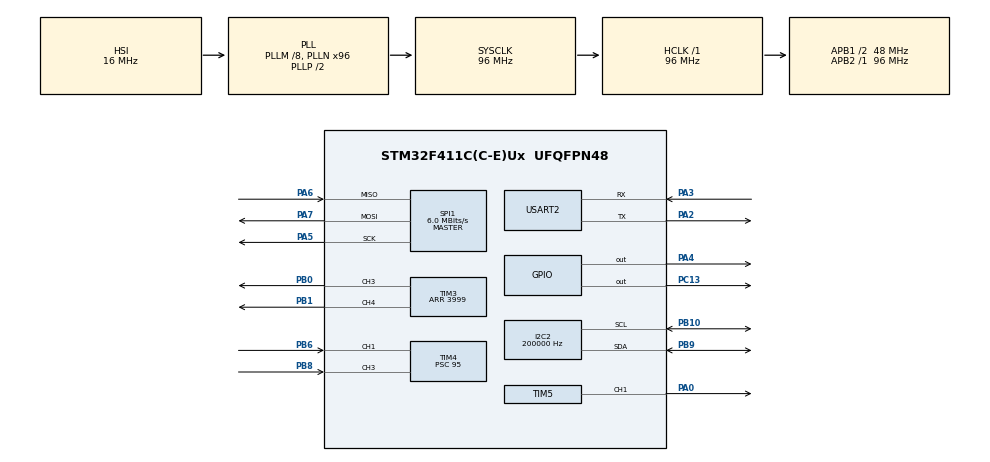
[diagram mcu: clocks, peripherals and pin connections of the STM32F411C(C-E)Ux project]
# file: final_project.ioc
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I2C2.ClockSpeed=200000
I2C2.I2C_Mode=I2C_Fast
Mcu.Family=STM32F4
Mcu.Name=STM32F411C(C-E)Ux
Mcu.Package=UFQFPN48
NVIC.PriorityGroup=NVIC_PRIORITYGROUP_4
NVIC.TIM3_IRQn=true\:0\:0\:false\:false\:true\:true\:true\:true
NVIC.TIM4_IRQn=true\:0\:0\:false\:false\:true\:true\:true\:true
NVIC.USART2_IRQn=true\:0\:0\:false\:false\:true\:true\:true\:true
PA0-WKUP.Signal=S_TIM5_CH1
PA13.Mode=Serial_Wire
PA13.Signal=SYS_JTMS-SWDIO
PA14.Mode=Serial_Wire
PA14.Signal=SYS_JTCK-SWCLK
PA15.Signal=SPI1_NSS
PA2.Mode=Asynchronous
PA2.Signal=USART2_TX
PA3.Mode=Asynchronous
PA3.Signal=USART2_RX
PA4.GPIO_Speed=GPIO_SPEED_FREQ_HIGH
PA4.PinState=GPIO_PIN_SET
PA4.Signal=GPIO_Output
PA5.Mode=Full_Duplex_Master
PA5.Signal=SPI1_SCK
PA6.Mode=Full_Duplex_Master
PA6.Signal=SPI1_MISO
PA7.Mode=Full_Duplex_Master
PA7.Signal=SPI1_MOSI
PB0.Signal=S_TIM3_CH3
PB1.Signal=S_TIM3_CH4
PB10.Mode=I2C
PB10.Signal=I2C2_SCL
PB3.Signal=SYS_JTDO-SWO
PB6.Signal=S_TIM4_CH1
PB8.Signal=S_TIM4_CH3
PB9.Mode=I2C
PB9.Signal=I2C2_SDA
PC13-ANTI_TAMP.Signal=GPIO_Output
PC14-OSC32_IN.Mode=LSE-External-Oscillator
PC14-OSC32_IN.Signal=RCC_OSC32_IN
PC15-OSC32_OUT.Mode=LSE-External-Oscillator
PC15-OSC32_OUT.Signal=RCC_OSC32_OUT
PH0\ -\ OSC_IN.Mode=HSE-External-Oscillator
PH0\ -\ OSC_IN.Signal=RCC_OSC_IN
PH1\ -\ OSC_OUT.Mode=HSE-External-Oscillator
PH1\ -\ OSC_OUT.Signal=RCC_OSC_OUT
ProjectManager.HeapSize=0x200
ProjectManager.StackSize=0x400
ProjectManager.TargetToolchain=STM32CubeIDE
RCC.48MHZClocksFreq_Value=48000000
RCC.AHBFreq_Value=96000000
RCC.APB1CLKDivider=RCC_HCLK_DIV2
RCC.APB1Freq_Value=48000000
RCC.APB1TimFreq_Value=96000000
RCC.APB2Freq_Value=96000000
RCC.APB2TimFreq_Value=96000000
RCC.CortexFreq_Value=96000000
RCC.HCLKFreq_Value=96000000
RCC.HSE_VALUE=25000000
RCC.HSI_VALUE=16000000
RCC.PLLM=8
RCC.PLLN=96
RCC.SYSCLKFreq_VALUE=96000000
RCC.SYSCLKSource=RCC_SYSCLKSOURCE_PLLCLK
RCC.VCOOutputFreq_Value=192000000
SH.S_TIM3_CH3.0=TIM3_CH3,PWM Generation3 CH3
SH.S_TIM3_CH4.0=TIM3_CH4,PWM Generation4 CH4
SH.S_TIM4_CH1.0=TIM4_CH1,Input_Capture1_from_TI1
SH.S_TIM4_CH3.0=TIM4_CH3,Input_Capture3_from_TI3
SH.S_TIM5_CH1.0=TIM5_CH1,PWM Generation1 CH1
SPI1.BaudRatePrescaler=SPI_BAUDRATEPRESCALER_16
SPI1.CLKPhase=SPI_PHASE_1EDGE
SPI1.CLKPolarity=SPI_POLARITY_HIGH
SPI1.CalculateBaudRate=6.0 MBits/s
SPI1.DataSize=SPI_DATASIZE_8BIT
SPI1.Direction=SPI_DIRECTION_2LINES
SPI1.Mode=SPI_MODE_MASTER
SPI1.VirtualType=VM_MASTER
TIM3.Channel-PWM\ Generation1\ CH1=TIM_CHANNEL_1
TIM3.Channel-PWM\ Generation2\ CH2=TIM_CHANNEL_2
TIM3.Channel-PWM\ Generation3\ CH3=TIM_CHANNEL_3
TIM3.Channel-PWM\ Generation4\ CH4=TIM_CHANNEL_4
TIM3.Period=3999
TIM3.Pulse-PWM\ Generation1\ CH1=0
TIM3.Pulse-PWM\ Generation2\ CH2=0
TIM3.Pulse-PWM\ Generation3\ CH3=0
TIM3.Pulse-PWM\ Generation4\ CH4=0
TIM4.Channel-Input_Capture1_from_TI1=TIM_CHANNEL_1
TIM4.Channel-Input_Capture2_from_TI1_63=TIM_CHANNEL_2
TIM4.Channel-Input_Capture3_from_TI3=TIM_CHANNEL_3
TIM4.Channel-Input_Capture4_from_TI3_63=TIM_CHANNEL_4
TIM4.ICPolarity_CH2=TIM_INPUTCHANNELPOLARITY_FALLING
TIM4.ICPolarity_CH4=TIM_INPUTCHANNELPOLARITY_FALLING
TIM4.ICPrescaler-Input_Capture3_from_TI3=TIM_ICPSC_DIV1
TIM4.Period=65535
TIM4.Prescaler=95
TIM5.Channel-PWM\ Generation1\ CH1=TIM_CHANNEL_1
TIM5.Period=1919999
TIM5.Pulse-PWM\ Generation1\ CH1=96000
USART2.VirtualMode=VM_ASYNC
VP_TIM4_VS_indirect_ch1.Mode=Input_Capture2_from_TI1_63
VP_TIM4_VS_indirect_ch3.Mode=Input_Capture4_from_TI3_63
board=custom

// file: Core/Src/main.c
/* USER CODE BEGIN Header */
/**
  ******************************************************************************
  * @file           : main.c
  * @brief          : Main program body
  ******************************************************************************
  * @attention
  *
  * Copyright (c) 2024 STMicroelectronics.
  * All rights reserved.
  *
  * This software is licensed under terms that can be found in the LICENSE file
  * in the root directory of this software component.
  * If no LICENSE file comes with this software, it is provided AS-IS.
  *
  ******************************************************************************
  */
/* USER CODE END Header */
#include "main.h"

/* USER CODE BEGIN Includes */
#include "string.h"
#include <stdlib.h>
#include <stdio.h>
#include "stm32f411xe.h"
#include "stm32f4xx_hal_uart.h"
#include "stm32f4xx_hal_rcc.h"
#include "stm32f4xx_hal_spi.h" // Include HAL SPI library
/* USER CODE END Includes */

/* USER CODE BEGIN PD */

#define IMU_ADDR (0x28)
#define OP_MODE_REG (0x3D)
#define NDOF_MODE (0x0C)
#define EUL_X (0x1A)
#define GYR_Y_LSB (0x16)

#define velo_error velo_meas;
float   actuation_pwm;
float   actuation_acc;
float   actuation_acc_prev;

uint32_t i;
uint32_t count;

//UART
char transmit_buff[150];
uint16_t n;

/* USER CODE END PD */

I2C_HandleTypeDef hi2c2;

SPI_HandleTypeDef hspi1;

TIM_HandleTypeDef htim3;
TIM_HandleTypeDef htim4;
TIM_HandleTypeDef htim5;

UART_HandleTypeDef huart2;

/* USER CODE BEGIN PV */
//I2C
uint32_t scan;
uint32_t result;
uint16_t i2c_buff_write[1];
int16_t i2c_buff_read[6];
int16_t i2c_buff_gyro[2];
float eul_x, eul_y,eul_z;
int16_t gyr_y;
float eul_y_offset;

//controller
float pos_meas;  /// measurement from the IMU
uint16_t velo_meas; /// measurement from the IMU

float pos_setpoint;
float pos_error;

float kp;
float kd;
/* USER CODE END PV */

void SystemClock_Config(void);
static void MX_GPIO_Init(void);
static void MX_TIM3_Init(void);
static void MX_TIM4_Init(void);
static void MX_USART2_UART_Init(void);
static void MX_TIM5_Init(void);
static void MX_SPI1_Init(void);
static void MX_I2C2_Init(void);
/* USER CODE BEGIN PFP */
void set_motor(uint32_t servo_cmp);
void start_motor(void);
float get_pos(void);
int16_t get_vel(void);
/* USER CODE END PFP */

int main(void)
{

  /* USER CODE BEGIN 1 */
	//controller parameters initially
	kp=500;
	kd=0;
	pos_setpoint=0;
	actuation_acc_prev=0;

  /* USER CODE END 1 */

  /* MCU Configuration--------------------------------------------------------*/

  /* Reset of all peripherals, Initializes the Flash interface and the Systick. */
  HAL_Init();

  /* Configure the system clock */
  SystemClock_Config();

  /* Initialize all configured peripherals */
  MX_GPIO_Init();
  MX_TIM3_Init();
  MX_TIM4_Init();
  MX_USART2_UART_Init();
  MX_TIM5_Init();
  MX_SPI1_Init();
  MX_I2C2_Init();
  /* USER CODE BEGIN 2 */
  HAL_TIM_PWM_Start(&htim5, TIM_CHANNEL_1);
  HAL_I2C_Init(&hi2c2);

  //testing stuff
  	  n = sprintf(transmit_buff,"UART initialized \r\n");
  	  HAL_UART_Transmit(&huart2, (uint8_t *) &transmit_buff, n, HAL_MAX_DELAY); //transmit the read data
  	//I2C initialization stuff

  	    	  for (i = 1; i < 128; i++) {
  	    	          result = HAL_I2C_IsDeviceReady(&hi2c2, (uint16_t)(i << 1), 1, 10);

  	    	          if (result == HAL_OK) {
  	    	              n=sprintf(transmit_buff,"Device found at address 0x%02d\n\r",(int) i);
  	    	              HAL_UART_Transmit(&huart2, (uint8_t *) &transmit_buff, n, HAL_MAX_DELAY); //transmit the read data
  	    	          }
  	    	      }
  	    	      n=sprintf(transmit_buff,"Scan completed.\n\r");
  	    	      HAL_UART_Transmit(&huart2, (uint8_t *) &transmit_buff, n, HAL_MAX_DELAY); //transmit the read data

  	    	      scan = HAL_I2C_IsDeviceReady(&hi2c2,(uint16_t)(IMU_ADDR << 1) , 1, 10);

  	    	          if (scan == HAL_OK) {
  	    	              n=sprintf(transmit_buff,"IMU Found at 40\n\r");
  	    	              HAL_UART_Transmit(&huart2, (uint8_t *) &transmit_buff, n, HAL_MAX_DELAY); //transmit the read data

  	    	          }
  	    	          if (scan != HAL_OK) {
  	    	             n=sprintf(transmit_buff,"No IMU found\n\r");
  	    	             HAL_UART_Transmit(&huart2, (uint8_t *) &transmit_buff, n, HAL_MAX_DELAY); //transmit the read data
  	    	          }
//put the devise in NDOF mode
i2c_buff_write[0]=NDOF_MODE;

HAL_I2C_Mem_Write (&hi2c2,IMU_ADDR << 1, OP_MODE_REG, I2C_MEMADD_SIZE_8BIT , (uint8_t *) &i2c_buff_write, 1 , HAL_MAX_DELAY );
//find offset for euler angle y
for (i=0; i<20;i++){
HAL_I2C_Mem_Read(&hi2c2, IMU_ADDR << 1,  EUL_X  , I2C_MEMADD_SIZE_8BIT,(uint8_t *)&i2c_buff_read,6,HAL_MAX_DELAY);
HAL_Delay(20);
}
HAL_I2C_Mem_Read(&hi2c2, IMU_ADDR << 1,  EUL_X  , I2C_MEMADD_SIZE_8BIT,(uint8_t *)&i2c_buff_read,6,HAL_MAX_DELAY);
eul_y_offset=((i2c_buff_read[3]<<8 | i2c_buff_read[2])/16);
//initialize motor

start_motor();
set_motor(160000);
HAL_Delay(3000);

int go=1;

  /* USER CODE END 2 */

  /* Infinite loop */
  /* USER CODE BEGIN WHILE */
  while (go)
    {
	  for (count = 0; count < 20; count++) {

  	  //measure velocity and position

  	  pos_meas= get_pos();
      velo_meas=get_vel();
      pos_error=pos_setpoint-pos_meas;

  	  actuation_pwm=kp*pos_error+kd*velo_error+actuation_acc_prev;
  	  //for loop to do the ramp input of pwm
  	  for (i = 1; i < 5; i++) {

  		  actuation_acc=i*actuation_pwm+160000;
          actuation_acc_prev=actuation_acc;
  		  //these if statements limit pwm control within available range
  		  if(actuation_acc>190000){
  			actuation_acc=190000;
  		  }
  		 if(actuation_acc<96000){
  		   actuation_acc=96000;
  		  }
  		HAL_Delay(10);
  		set_motor(actuation_acc);

  	  }
  	 n=sprintf(transmit_buff,"PWM: %ld\n\r",(int32_t)actuation_acc);
  	  	 	HAL_UART_Transmit(&huart2, (uint8_t *) &transmit_buff, n, HAL_MAX_DELAY); //transmit the read data

	  }
	  set_motor(143000);
	  go=0;
    /* USER CODE END WHILE */

  }
}

void SystemClock_Config(void)
{
  RCC_OscInitTypeDef RCC_OscInitStruct = {0};
  RCC_ClkInitTypeDef RCC_ClkInitStruct = {0};

  /** Configure the main internal regulator output voltage
  */
  __HAL_RCC_PWR_CLK_ENABLE();
  __HAL_PWR_VOLTAGESCALING_CONFIG(PWR_REGULATOR_VOLTAGE_SCALE1);

  /** Initializes the RCC Oscillators according to the specified parameters
  * in the RCC_OscInitTypeDef structure.
  */
  RCC_OscInitStruct.OscillatorType = RCC_OSCILLATORTYPE_HSI;
  RCC_OscInitStruct.HSIState = RCC_HSI_ON;
  RCC_OscInitStruct.HSICalibrationValue = RCC_HSICALIBRATION_DEFAULT;
  RCC_OscInitStruct.PLL.PLLState = RCC_PLL_ON;
  RCC_OscInitStruct.PLL.PLLSource = RCC_PLLSOURCE_HSI;
  RCC_OscInitStruct.PLL.PLLM = 8;
  RCC_OscInitStruct.PLL.PLLN = 96;
  RCC_OscInitStruct.PLL.PLLP = RCC_PLLP_DIV2;
  RCC_OscInitStruct.PLL.PLLQ = 4;
  if (HAL_RCC_OscConfig(&RCC_OscInitStruct) != HAL_OK)
  {
    Error_Handler();
  }

  /** Initializes the CPU, AHB and APB buses clocks
  */
  RCC_ClkInitStruct.ClockType = RCC_CLOCKTYPE_HCLK|RCC_CLOCKTYPE_SYSCLK
                              |RCC_CLOCKTYPE_PCLK1|RCC_CLOCKTYPE_PCLK2;
  RCC_ClkInitStruct.SYSCLKSource = RCC_SYSCLKSOURCE_PLLCLK;
  RCC_ClkInitStruct.AHBCLKDivider = RCC_SYSCLK_DIV1;
  RCC_ClkInitStruct.APB1CLKDivider = RCC_HCLK_DIV2;
  RCC_ClkInitStruct.APB2CLKDivider = RCC_HCLK_DIV1;

  if (HAL_RCC_ClockConfig(&RCC_ClkInitStruct, FLASH_LATENCY_3) != HAL_OK)
  {
    Error_Handler();
  }
}

static void MX_I2C2_Init(void)
{

  hi2c2.Instance = I2C2;
  hi2c2.Init.ClockSpeed = 200000;
  hi2c2.Init.DutyCycle = I2C_DUTYCYCLE_2;
  hi2c2.Init.OwnAddress1 = 0;
  hi2c2.Init.AddressingMode = I2C_ADDRESSINGMODE_7BIT;
  hi2c2.Init.DualAddressMode = I2C_DUALADDRESS_DISABLE;
  hi2c2.Init.OwnAddress2 = 0;
  hi2c2.Init.GeneralCallMode = I2C_GENERALCALL_DISABLE;
  hi2c2.Init.NoStretchMode = I2C_NOSTRETCH_DISABLE;
  if (HAL_I2C_Init(&hi2c2) != HAL_OK)
  {
    Error_Handler();
  }

}

static void MX_SPI1_Init(void)
{

  /* SPI1 parameter configuration*/
  hspi1.Instance = SPI1;
  hspi1.Init.Mode = SPI_MODE_MASTER;
  hspi1.Init.Direction = SPI_DIRECTION_2LINES;
  hspi1.Init.DataSize = SPI_DATASIZE_8BIT;
  hspi1.Init.CLKPolarity = SPI_POLARITY_HIGH;
  hspi1.Init.CLKPhase = SPI_PHASE_1EDGE;
  hspi1.Init.NSS = SPI_NSS_SOFT;
  hspi1.Init.BaudRatePrescaler = SPI_BAUDRATEPRESCALER_16;
  hspi1.Init.FirstBit = SPI_FIRSTBIT_MSB;
  hspi1.Init.TIMode = SPI_TIMODE_DISABLE;
  hspi1.Init.CRCCalculation = SPI_CRCCALCULATION_DISABLE;
  hspi1.Init.CRCPolynomial = 10;
  if (HAL_SPI_Init(&hspi1) != HAL_OK)
  {
    Error_Handler();
  }

}

static void MX_TIM3_Init(void)
{

  TIM_MasterConfigTypeDef sMasterConfig = {0};
  TIM_OC_InitTypeDef sConfigOC = {0};

  htim3.Instance = TIM3;
  htim3.Init.Prescaler = 0;
  htim3.Init.CounterMode = TIM_COUNTERMODE_UP;
  htim3.Init.Period = 3999;
  htim3.Init.ClockDivision = TIM_CLOCKDIVISION_DIV1;
  htim3.Init.AutoReloadPreload = TIM_AUTORELOAD_PRELOAD_DISABLE;
  if (HAL_TIM_PWM_Init(&htim3) != HAL_OK)
  {
    Error_Handler();
  }
  sMasterConfig.MasterOutputTrigger = TIM_TRGO_RESET;
  sMasterConfig.MasterSlaveMode = TIM_MASTERSLAVEMODE_DISABLE;
  if (HAL_TIMEx_MasterConfigSynchronization(&htim3, &sMasterConfig) != HAL_OK)
  {
    Error_Handler();
  }
  sConfigOC.OCMode = TIM_OCMODE_PWM1;
  sConfigOC.Pulse = 0;
  sConfigOC.OCPolarity = TIM_OCPOLARITY_HIGH;
  sConfigOC.OCFastMode = TIM_OCFAST_DISABLE;
  if (HAL_TIM_PWM_ConfigChannel(&htim3, &sConfigOC, TIM_CHANNEL_3) != HAL_OK)
  {
    Error_Handler();
  }
  if (HAL_TIM_PWM_ConfigChannel(&htim3, &sConfigOC, TIM_CHANNEL_4) != HAL_OK)
  {
    Error_Handler();
  }
  HAL_TIM_MspPostInit(&htim3);

}

static void MX_TIM4_Init(void)
{

  TIM_MasterConfigTypeDef sMasterConfig = {0};
  TIM_IC_InitTypeDef sConfigIC = {0};

  htim4.Instance = TIM4;
  htim4.Init.Prescaler = 95;
  htim4.Init.CounterMode = TIM_COUNTERMODE_UP;
  htim4.Init.Period = 65535;
  htim4.Init.ClockDivision = TIM_CLOCKDIVISION_DIV1;
  htim4.Init.AutoReloadPreload = TIM_AUTORELOAD_PRELOAD_DISABLE;
  if (HAL_TIM_IC_Init(&htim4) != HAL_OK)
  {
    Error_Handler();
  }
  sMasterConfig.MasterOutputTrigger = TIM_TRGO_RESET;
  sMasterConfig.MasterSlaveMode = TIM_MASTERSLAVEMODE_DISABLE;
  if (HAL_TIMEx_MasterConfigSynchronization(&htim4, &sMasterConfig) != HAL_OK)
  {
    Error_Handler();
  }
  sConfigIC.ICPolarity = TIM_INPUTCHANNELPOLARITY_RISING;
  sConfigIC.ICSelection = TIM_ICSELECTION_DIRECTTI;
  sConfigIC.ICPrescaler = TIM_ICPSC_DIV1;
  sConfigIC.ICFilter = 0;
  if (HAL_TIM_IC_ConfigChannel(&htim4, &sConfigIC, TIM_CHANNEL_1) != HAL_OK)
  {
    Error_Handler();
  }
  sConfigIC.ICPolarity = TIM_INPUTCHANNELPOLARITY_FALLING;
  sConfigIC.ICSelection = TIM_ICSELECTION_INDIRECTTI;
  if (HAL_TIM_IC_ConfigChannel(&htim4, &sConfigIC, TIM_CHANNEL_2) != HAL_OK)
  {
    Error_Handler();
  }
  sConfigIC.ICPolarity = TIM_INPUTCHANNELPOLARITY_RISING;
  sConfigIC.ICSelection = TIM_ICSELECTION_DIRECTTI;
  if (HAL_TIM_IC_ConfigChannel(&htim4, &sConfigIC, TIM_CHANNEL_3) != HAL_OK)
  {
    Error_Handler();
  }
  sConfigIC.ICPolarity = TIM_INPUTCHANNELPOLARITY_FALLING;
  sConfigIC.ICSelection = TIM_ICSELECTION_INDIRECTTI;
  if (HAL_TIM_IC_ConfigChannel(&htim4, &sConfigIC, TIM_CHANNEL_4) != HAL_OK)
  {
    Error_Handler();
  }

}

static void MX_TIM5_Init(void)
{

  TIM_MasterConfigTypeDef sMasterConfig = {0};
  TIM_OC_InitTypeDef sConfigOC = {0};

  htim5.Instance = TIM5;
  htim5.Init.Prescaler = 0;
  htim5.Init.CounterMode = TIM_COUNTERMODE_UP;
  htim5.Init.Period = 1919999;
  htim5.Init.ClockDivision = TIM_CLOCKDIVISION_DIV1;
  htim5.Init.AutoReloadPreload = TIM_AUTORELOAD_PRELOAD_DISABLE;
  if (HAL_TIM_PWM_Init(&htim5) != HAL_OK)
  {
    Error_Handler();
  }
  sMasterConfig.MasterOutputTrigger = TIM_TRGO_RESET;
  sMasterConfig.MasterSlaveMode = TIM_MASTERSLAVEMODE_DISABLE;
  if (HAL_TIMEx_MasterConfigSynchronization(&htim5, &sMasterConfig) != HAL_OK)
  {
    Error_Handler();
  }
  sConfigOC.OCMode = TIM_OCMODE_PWM1;
  sConfigOC.Pulse = 96000;
  sConfigOC.OCPolarity = TIM_OCPOLARITY_HIGH;
  sConfigOC.OCFastMode = TIM_OCFAST_DISABLE;
  if (HAL_TIM_PWM_ConfigChannel(&htim5, &sConfigOC, TIM_CHANNEL_1) != HAL_OK)
  {
    Error_Handler();
  }
  HAL_TIM_MspPostInit(&htim5);

}

static void MX_USART2_UART_Init(void)
{

  huart2.Instance = USART2;
  huart2.Init.BaudRate = 115200;
  huart2.Init.WordLength = UART_WORDLENGTH_8B;
  huart2.Init.StopBits = UART_STOPBITS_1;
  huart2.Init.Parity = UART_PARITY_NONE;
  huart2.Init.Mode = UART_MODE_TX_RX;
  huart2.Init.HwFlowCtl = UART_HWCONTROL_NONE;
  huart2.Init.OverSampling = UART_OVERSAMPLING_16;
  if (HAL_UART_Init(&huart2) != HAL_OK)
  {
    Error_Handler();
  }

}

static void MX_GPIO_Init(void)
{
  GPIO_InitTypeDef GPIO_InitStruct = {0};

  /* GPIO Ports Clock Enable */
  __HAL_RCC_GPIOC_CLK_ENABLE();
  __HAL_RCC_GPIOH_CLK_ENABLE();
  __HAL_RCC_GPIOA_CLK_ENABLE();
  __HAL_RCC_GPIOB_CLK_ENABLE();

  /*Configure GPIO pin Output Level */
  HAL_GPIO_WritePin(GPIOC, GPIO_PIN_13, GPIO_PIN_RESET);

  /*Configure GPIO pin Output Level */
  HAL_GPIO_WritePin(GPIOA, GPIO_PIN_4, GPIO_PIN_SET);

  /*Configure GPIO pin : PC13 */
  GPIO_InitStruct.Pin = GPIO_PIN_13;
  GPIO_InitStruct.Mode = GPIO_MODE_OUTPUT_PP;
  GPIO_InitStruct.Pull = GPIO_NOPULL;
  GPIO_InitStruct.Speed = GPIO_SPEED_FREQ_LOW;
  HAL_GPIO_Init(GPIOC, &GPIO_InitStruct);

  /*Configure GPIO pin : PA4 */
  GPIO_InitStruct.Pin = GPIO_PIN_4;
  GPIO_InitStruct.Mode = GPIO_MODE_OUTPUT_PP;
  GPIO_InitStruct.Pull = GPIO_NOPULL;
  GPIO_InitStruct.Speed = GPIO_SPEED_FREQ_HIGH;
  HAL_GPIO_Init(GPIOA, &GPIO_InitStruct);

}

/* USER CODE BEGIN 4 */
void set_motor(uint32_t servo_cmp)
	  {
	  	  __HAL_TIM_SET_COMPARE(&htim5, TIM_CHANNEL_1, servo_cmp);
	  	 //n=sprintf(transmit_buff,"Motor set: %ld\n\r",servo_cmp);
	  	 //HAL_UART_Transmit(&huart2, (uint8_t *) &transmit_buff, n, HAL_MAX_DELAY); //transmit the read data
	  }
void start_motor(){
	  	  __HAL_TIM_SET_COMPARE(&htim5, TIM_CHANNEL_1, 143000);
	  	  HAL_Delay(3000);
	  	  n=sprintf(transmit_buff,"Motor start completed.\n\r");
	  	  HAL_UART_Transmit(&huart2, (uint8_t *) &transmit_buff, n, HAL_MAX_DELAY); //transmit the read data

	  }
float get_pos(){
	HAL_I2C_Mem_Read(&hi2c2, IMU_ADDR << 1,  EUL_X  , I2C_MEMADD_SIZE_8BIT,(uint8_t *)&i2c_buff_read,6,HAL_MAX_DELAY);

		  HAL_I2C_ModeTypeDef error = HAL_I2C_GetError(&hi2c2);
		  if (error!= HAL_I2C_ERROR_NONE){
			  n=sprintf(transmit_buff,"I2C error\n\r");
			  //HAL_UART_Transmit(&huart2, (uint16_t *) &transmit_buff, n, HAL_MAX_DELAY);
			  //HAL_Delay(500);

		  }

		  eul_x=(i2c_buff_read[1]<<8 | i2c_buff_read[0])/16;
		  eul_y=((i2c_buff_read[3]<<8 | i2c_buff_read[2])/16.0)-eul_y_offset;
		  eul_z=(i2c_buff_read[5]<<8 | i2c_buff_read[4])/16;

		  n=sprintf(transmit_buff,"EUL_Y= %d\n\r", (uint8_t) eul_y);
		  HAL_UART_Transmit(&huart2, (uint8_t *) &transmit_buff, n, HAL_MAX_DELAY);
		  return eul_y;

}
int16_t get_vel(){
	 HAL_I2C_Mem_Read(&hi2c2, IMU_ADDR << 1,  GYR_Y_LSB  , I2C_MEMADD_SIZE_8BIT,(uint8_t *)&i2c_buff_gyro,2,HAL_MAX_DELAY);

	          HAL_I2C_ModeTypeDef error = HAL_I2C_GetError(&hi2c2);
	  		  if (error!= HAL_I2C_ERROR_NONE){
	  			  n=sprintf(transmit_buff,"I2C error\n\r");
	  			  //HAL_UART_Transmit(&huart2, (uint16_t *) &transmit_buff, n, HAL_MAX_DELAY);
	  			  //HAL_Delay(500);

	  		  }

	  		  gyr_y=(i2c_buff_gyro[1]<<8 | i2c_buff_gyro[0])/16;

	  		  n=sprintf(transmit_buff,"GYRO_Y=%d\n\r", gyr_y);
	  		  HAL_UART_Transmit(&huart2, (uint8_t *) &transmit_buff, n, HAL_MAX_DELAY);
		  return gyr_y;

}

/* USER CODE END 4 */

void Error_Handler(void)
{
  __disable_irq();
  while (1)
  {
  }
}
